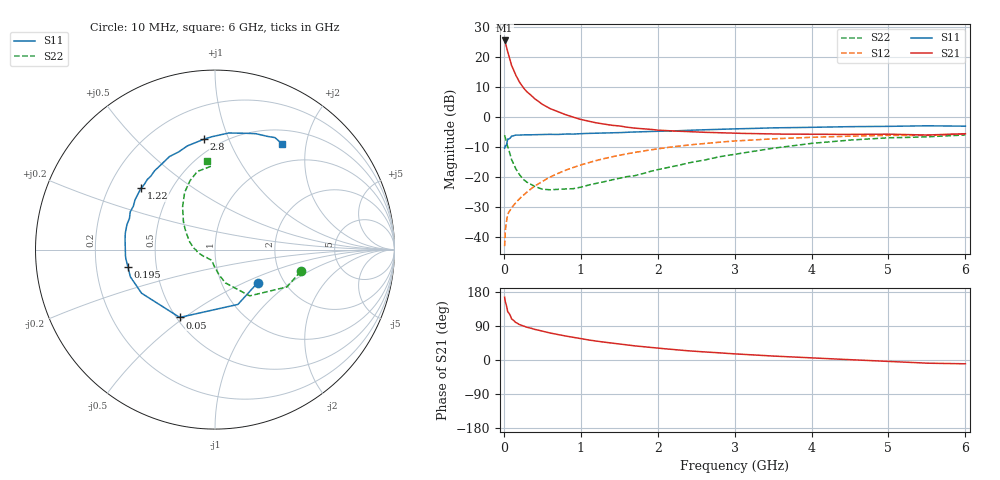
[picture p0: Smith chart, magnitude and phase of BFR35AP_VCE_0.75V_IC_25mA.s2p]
! Infineon Technologies  Discrete & RF Semiconductors
! BFR35AP
! VCE = 0.75 V,  IC =  25 mA
! Common Emitter S-Parameters:  Nov 2015
# GHz  S  MA  R  50
!  f  S11  S21  S12  S22
! GHz  MAG  ANG  MAG  ANG  MAG  ANG  MAG  ANG
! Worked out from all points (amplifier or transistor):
!   210 points, 10 MHz to 6 GHz, reference 50 ohm
!   highest |S21| = 25.4 dB at 10 MHz (marker M1)
!   |S21| within 3 dB of that: start of sweep to 42.12 MHz
!   unconditionally stable (mu >= 1): start of sweep to end of sweep
!   at 185 MHz: K = 2.22, MAG = 13.9 dB, |S12| = -27.8 dB
!   at 1.52 GHz: K = 2.28, MAG = -1.6 dB, |S12| = -12.7 dB
!   at 6 GHz: K = 1.19, MAG = -2.6 dB, |S12| = -5.7 dB
!   S11 on the Smith chart (normalised r, x): 10 MHz: 1.48, -0.60; 50 MHz: 0.52, -0.48; 195 MHz: 0.34, -0.09; 1.22 GHz: 0.34, +0.33; 2.8 GHz: 0.41, +0.82; 6 GHz: 0.70, +1.60
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0.01  0.301 -37.6  18.67 165.7  0.007 70.0  0.4923 -14.3
0.02  0.331 -67.3  17.26 153.0  0.013 63.9  0.4517 -27.4
0.035  0.3433 -95.8  14.36 142.5  0.0183 56.1  0.3776 -38.1
0.05  0.426 -117.5  12.16 127.6  0.0237 51.9  0.3224 -53.1
0.1  0.4759 -149.3  7.184 108.6  0.0304 48.8  0.194 -72.7
0.15  0.4953 -162.2  5.05 99.5  0.0363 51.4  0.1395 -81.5
0.195  0.4948 -168.9  3.954 94.5  0.0421 54.0  0.113 -86.1
0.24  0.4991 -174.1  3.221 90.6  0.0476 56.9  0.0951 -91.5
0.3  0.4996 -179.3  2.606 86.4  0.0558 60.2  0.0814 -96.5
0.4  0.5038 174.3  2.003 80.9  0.0696 62.8  0.0693 -102.0
0.5  0.5082 169.5  1.613 75.9  0.0835 64.4  0.0622 -109.9
0.6  0.51 164.1  1.371 71.3  0.0988 64.6  0.0609 -117.5
0.7  0.5074 159.9  1.215 67.2  0.1135 64.6  0.062 -124.1
1.02  0.5255 147.3  0.891 55.7  0.1605 61.8  0.0683 -142.9
1.22  0.5351 140.1  0.786 49.5  0.1894 59.4  0.0786 -156.0
2.02  0.5772 115.5  0.597 31.0  0.295 46.7  0.1335 168.5
2.8  0.6185 95.6  0.541 18.9  0.3784 33.7  0.2157 142.7
3.1  0.6329 89.9  0.529 15.1  0.4014 28.5  0.2485 135.4
4.1  0.6706 75.1  0.51 4.7  0.4586 13.9  0.3696 116.2
5.1  0.6954 65.1  0.51 -4.5  0.4898 1.3  0.4488 100.7
5.5  0.7079 61.8  0.497 -8.4  0.4891 -3.6  0.4636 93.2
6  0.6972 57.5  0.522 -10.0  0.5185 -7.2  0.4982 95.2
